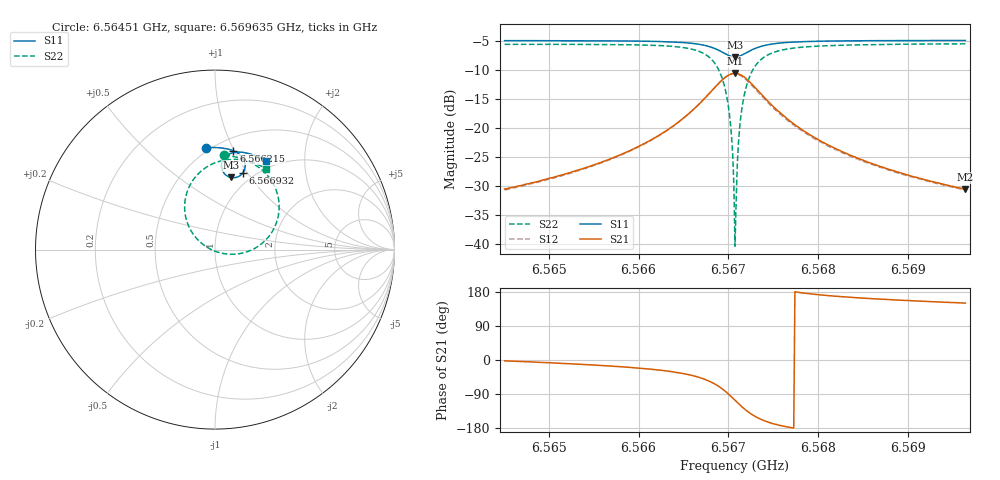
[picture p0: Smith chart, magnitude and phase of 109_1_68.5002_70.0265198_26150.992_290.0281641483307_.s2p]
#  HZ  S  RI  R  50.00
! Rohde & Schwarz Vector Network Analyzer
! Rohde-Schwarz,ZNB20-2Port,1311601062101988,3.16
! Created: UTC 3/20/2024, 4:53:23 PM
! freq[Hz]  re:S11  im:S11  re:S21  im:S21  re:S12  im:S12  re:S22  im:S22
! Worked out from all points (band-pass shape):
!   401 points, 6.56451 GHz to 6.569635 GHz, reference 50 ohm
!   highest |S21| = -10.54 dB at 6.567073 GHz (marker M1); lowest = -30.6 dB at 6.569635 GHz (marker M2)
!   |S21| within 3 dB of the highest: 6.566815 GHz to 6.567329 GHz (513.9 kHz wide, 0.00783 % of centre)
!   lowest |S11| = -7.7 dB at 6.567073 GHz (marker M3), VSWR 2.40, Z = 41.8 + j40.4 ohm
!   |S11| at or under -10 dB: nowhere
!   |S22| runs from -40.4 to -5.4 dB; largest |S21 - S12| = 0.015
!   S11 on the Smith chart (normalised r, x): 6.56451 GHz: 0.47, +0.80; 6.566215 GHz: 0.62, +0.99; 6.566932 GHz: 0.89, +0.95; 6.569635 GHz: 0.89, +1.31
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6.5645105e9  -0.0503 0.5671  0.0298 -0.00119  0.0291 -0.0016  0.0521 0.5261
6.5653689e9  0.021 0.5677  0.0435 -0.00896  0.0428 -0.00954  0.1364 0.5106
6.5662145e9  0.1025 0.5505  0.0767 -0.0377  0.0755 -0.0386  0.2549 0.4497
6.5662273e9  0.1039 0.5498  0.0776 -0.0387  0.0764 -0.0397  0.2574 0.4479
6.566522e9  0.1392 0.5281  0.1007 -0.0757  0.0992 -0.0773  0.3197 0.3748
6.566727e9  0.1635 0.4935  0.1139 -0.1365  0.1112 -0.1393  0.3566 0.2575
6.5668423e9  0.1676 0.459  0.1024 -0.1967  0.097 -0.2006  0.3395 0.1424
6.566932e9  0.154 0.4259  0.0614 -0.2537  0.0523 -0.257  0.2641 0.0362
6.5670089e9  0.123 0.4037  -0.00875 -0.2886  -0.0214 -0.2878  0.134 -0.0231
6.5670345e9  0.1093 0.4007  -0.038 -0.2918  -0.0513 -0.2887  0.0812 -0.0259
6.5670473e9  0.102 0.4002  -0.053 -0.2911  -0.0663 -0.2869  0.0543 -0.0232
6.5670601e9  0.0948 0.4007  -0.068 -0.289  -0.0813 -0.2836  0.0275 -0.0177
6.5670729e9  0.0876 0.402  -0.0828 -0.2855  -0.0959 -0.2789  0.00146 -0.00947
6.5670986e9  0.0738 0.4067  -0.1112 -0.2742  -0.1229 -0.2654  -0.0468 0.0146
6.5671242e9  0.0617 0.4142  -0.1361 -0.2578  -0.1462 -0.2473  -0.0882 0.0471
6.5671498e9  0.0518 0.424  -0.1568 -0.2377  -0.1649 -0.2259  -0.1211 0.0852
6.5672011e9  0.0397 0.4466  -0.1833 -0.1924  -0.1875 -0.1799  -0.1602 0.1681
6.5672651e9  0.0372 0.4742  -0.1935 -0.1385  -0.1936 -0.1274  -0.1679 0.2635
6.5675086e9  0.0755 0.53  -0.1482 -0.0293  -0.1449 -0.0247  -0.0642 0.4477
6.5679314e9  0.1383 0.5436  -0.0849 0.00879  -0.0828 0.0101  0.0767 0.5016
6.5687898e9  0.2208 0.5248  -0.0411 0.0154  -0.0402 0.0158  0.2082 0.4855
6.5696354e9  0.2846 0.4952  -0.0257 0.0147  -0.0251 0.015  0.2857 0.4515
